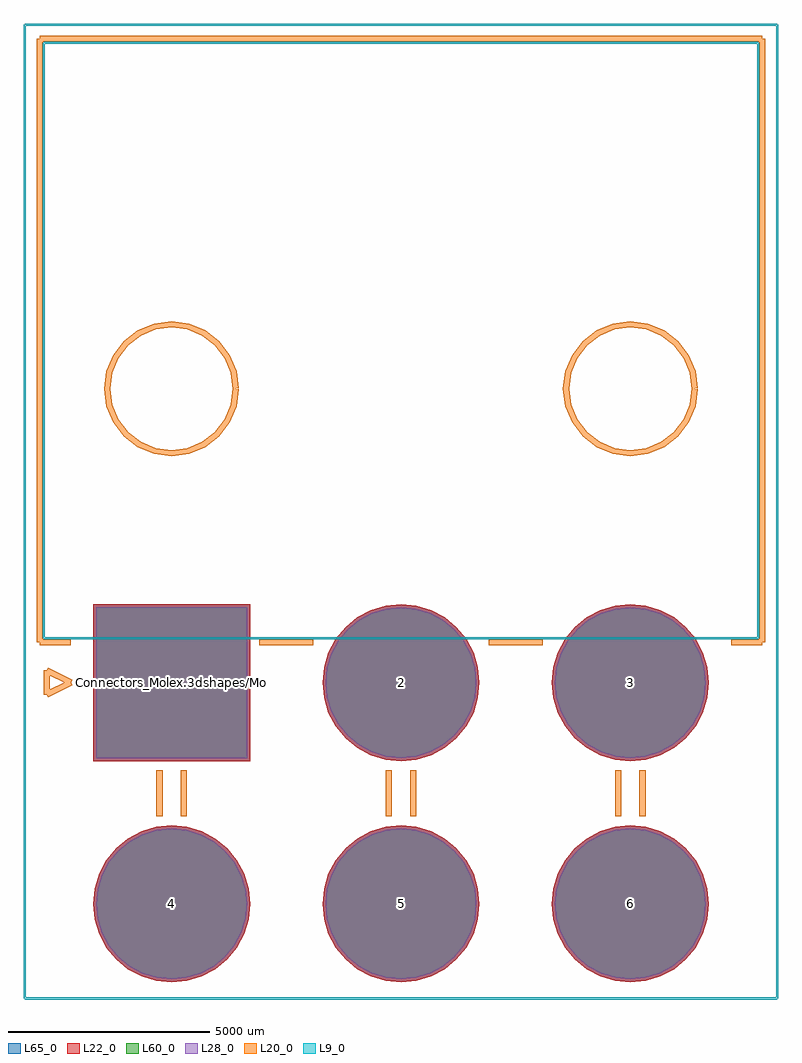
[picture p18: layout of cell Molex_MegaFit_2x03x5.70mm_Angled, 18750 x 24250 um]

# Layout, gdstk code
import gdstk
lib = gdstk.Library(unit=1e-6, precision=1e-09)
def R(c, l, rs):  # rectangles x0, y0, x1, y1
    for r in rs: c.add(gdstk.rectangle(r[:2], r[2:], *l))
def P(c, l, *ps):  # polygons
    for p in ps: c.add(gdstk.Polygon(p, *l))
L9_0 = (9, 0)
L20_0 = (20, 0)
L22_0 = (22, 0)
L28_0 = (28, 0)
L60_0 = (60, 0)
L65_0 = (65, 0)

molex_megafit_2x03x5_70m = lib.new_cell('Molex_MegaFit_2x03x5.70mm_Angled')
R(molex_megafit_2x03x5_70m, L22_0, [(-1950,-1950,1950,1950)])
P(molex_megafit_2x03x5_70m, L22_0, [(13350,-5500),(13312.531,-5119.574),(13201.565,-4753.767),(13021.366,-4416.638),(12778.858,-4121.142),(12483.362,-3878.634),(12146.233,-3698.435),(11780.426,-3587.469),(11400,-3550),(11019.574,-3587.469),(10653.767,-3698.435),(10316.638,-3878.634),(10021.142,-4121.142),(9778.634,-4416.638),(9598.435,-4753.767),(9487.469,-5119.574),(9450,-5500),(9487.469,-5880.426),(9598.435,-6246.233),(9778.634,-6583.362),(10021.142,-6878.858),(10316.638,-7121.366),(10653.767,-7301.565),(11019.574,-7412.531),(11400,-7450),(11780.426,-7412.531),(12146.233,-7301.565),(12483.362,-7121.366),(12778.858,-6878.858),(13021.366,-6583.362),(13201.565,-6246.233),(13312.531,-5880.426)],
  [(7650,-5500),(7612.531,-5119.574),(7501.565,-4753.767),(7321.366,-4416.638),(7078.858,-4121.142),(6783.362,-3878.634),(6446.233,-3698.435),(6080.426,-3587.469),(5700,-3550),(5319.574,-3587.469),(4953.767,-3698.435),(4616.638,-3878.634),(4321.142,-4121.142),(4078.634,-4416.638),(3898.435,-4753.767),(3787.469,-5119.574),(3750,-5500),(3787.469,-5880.426),(3898.435,-6246.233),(4078.634,-6583.362),(4321.142,-6878.858),(4616.638,-7121.366),(4953.767,-7301.565),(5319.574,-7412.531),(5700,-7450),(6080.426,-7412.531),(6446.233,-7301.565),(6783.362,-7121.366),(7078.858,-6878.858),(7321.366,-6583.362),(7501.565,-6246.233),(7612.531,-5880.426)],
  [(1950,-5500),(1912.531,-5119.574),(1801.565,-4753.767),(1621.366,-4416.638),(1378.858,-4121.142),(1083.362,-3878.634),(746.233,-3698.435),(380.426,-3587.469),(0,-3550),(-380.426,-3587.469),(-746.233,-3698.435),(-1083.362,-3878.634),(-1378.858,-4121.142),(-1621.366,-4416.638),(-1801.565,-4753.767),(-1912.531,-5119.574),(-1950,-5500),(-1912.531,-5880.426),(-1801.565,-6246.233),(-1621.366,-6583.362),(-1378.858,-6878.858),(-1083.362,-7121.366),(-746.233,-7301.565),(-380.426,-7412.531),(0,-7450),(380.426,-7412.531),(746.233,-7301.565),(1083.362,-7121.366),(1378.858,-6878.858),(1621.366,-6583.362),(1801.565,-6246.233),(1912.531,-5880.426)],
  [(13350,0),(13312.531,380.426),(13201.565,746.233),(13021.366,1083.362),(12778.858,1378.858),(12483.362,1621.366),(12146.233,1801.565),(11780.426,1912.531),(11400,1950),(11019.574,1912.531),(10653.767,1801.565),(10316.638,1621.366),(10021.142,1378.858),(9778.634,1083.362),(9598.435,746.233),(9487.469,380.426),(9450,0),(9487.469,-380.426),(9598.435,-746.233),(9778.634,-1083.362),(10021.142,-1378.858),(10316.638,-1621.366),(10653.767,-1801.565),(11019.574,-1912.531),(11400,-1950),(11780.426,-1912.531),(12146.233,-1801.565),(12483.362,-1621.366),(12778.858,-1378.858),(13021.366,-1083.362),(13201.565,-746.233),(13312.531,-380.426)],
  [(7650,0),(7612.531,380.426),(7501.565,746.233),(7321.366,1083.362),(7078.858,1378.858),(6783.362,1621.366),(6446.233,1801.565),(6080.426,1912.531),(5700,1950),(5319.574,1912.531),(4953.767,1801.565),(4616.638,1621.366),(4321.142,1378.858),(4078.634,1083.362),(3898.435,746.233),(3787.469,380.426),(3750,0),(3787.469,-380.426),(3898.435,-746.233),(4078.634,-1083.362),(4321.142,-1378.858),(4616.638,-1621.366),(4953.767,-1801.565),(5319.574,-1912.531),(5700,-1950),(6080.426,-1912.531),(6446.233,-1801.565),(6783.362,-1621.366),(7078.858,-1378.858),(7321.366,-1083.362),(7501.565,-746.233),(7612.531,-380.426)])
R(molex_megafit_2x03x5_70m, L28_0, [(-1875,-1875,1875,1875)])
P(molex_megafit_2x03x5_70m, L28_0, [(13275,-5500),(13238.972,-5134.206),(13132.274,-4782.469),(12959.006,-4458.306),(12725.825,-4174.175),(12441.694,-3940.994),(12117.531,-3767.726),(11765.794,-3661.028),(11400,-3625),(11034.206,-3661.028),(10682.469,-3767.726),(10358.306,-3940.994),(10074.175,-4174.175),(9840.994,-4458.306),(9667.726,-4782.469),(9561.028,-5134.206),(9525,-5500),(9561.028,-5865.794),(9667.726,-6217.531),(9840.994,-6541.694),(10074.175,-6825.825),(10358.306,-7059.006),(10682.469,-7232.274),(11034.206,-7338.972),(11400,-7375),(11765.794,-7338.972),(12117.531,-7232.274),(12441.694,-7059.006),(12725.825,-6825.825),(12959.006,-6541.694),(13132.274,-6217.531),(13238.972,-5865.794)],
  [(7575,-5500),(7538.972,-5134.206),(7432.274,-4782.469),(7259.006,-4458.306),(7025.825,-4174.175),(6741.694,-3940.994),(6417.531,-3767.726),(6065.794,-3661.028),(5700,-3625),(5334.206,-3661.028),(4982.469,-3767.726),(4658.306,-3940.994),(4374.175,-4174.175),(4140.994,-4458.306),(3967.726,-4782.469),(3861.028,-5134.206),(3825,-5500),(3861.028,-5865.794),(3967.726,-6217.531),(4140.994,-6541.694),(4374.175,-6825.825),(4658.306,-7059.006),(4982.469,-7232.274),(5334.206,-7338.972),(5700,-7375),(6065.794,-7338.972),(6417.531,-7232.274),(6741.694,-7059.006),(7025.825,-6825.825),(7259.006,-6541.694),(7432.274,-6217.531),(7538.972,-5865.794)],
  [(1875,-5500),(1838.972,-5134.206),(1732.274,-4782.469),(1559.006,-4458.306),(1325.825,-4174.175),(1041.694,-3940.994),(717.531,-3767.726),(365.794,-3661.028),(0,-3625),(-365.794,-3661.028),(-717.531,-3767.726),(-1041.694,-3940.994),(-1325.825,-4174.175),(-1559.006,-4458.306),(-1732.274,-4782.469),(-1838.972,-5134.206),(-1875,-5500),(-1838.972,-5865.794),(-1732.274,-6217.531),(-1559.006,-6541.694),(-1325.825,-6825.825),(-1041.694,-7059.006),(-717.531,-7232.274),(-365.794,-7338.972),(0,-7375),(365.794,-7338.972),(717.531,-7232.274),(1041.694,-7059.006),(1325.825,-6825.825),(1559.006,-6541.694),(1732.274,-6217.531),(1838.972,-5865.794)],
  [(13275,0),(13238.972,365.794),(13132.274,717.531),(12959.006,1041.694),(12725.825,1325.825),(12441.694,1559.006),(12117.531,1732.274),(11765.794,1838.972),(11400,1875),(11034.206,1838.972),(10682.469,1732.274),(10358.306,1559.006),(10074.175,1325.825),(9840.994,1041.694),(9667.726,717.531),(9561.028,365.794),(9525,0),(9561.028,-365.794),(9667.726,-717.531),(9840.994,-1041.694),(10074.175,-1325.825),(10358.306,-1559.006),(10682.469,-1732.274),(11034.206,-1838.972),(11400,-1875),(11765.794,-1838.972),(12117.531,-1732.274),(12441.694,-1559.006),(12725.825,-1325.825),(12959.006,-1041.694),(13132.274,-717.531),(13238.972,-365.794)],
  [(7575,0),(7538.972,365.794),(7432.274,717.531),(7259.006,1041.694),(7025.825,1325.825),(6741.694,1559.006),(6417.531,1732.274),(6065.794,1838.972),(5700,1875),(5334.206,1838.972),(4982.469,1732.274),(4658.306,1559.006),(4374.175,1325.825),(4140.994,1041.694),(3967.726,717.531),(3861.028,365.794),(3825,0),(3861.028,-365.794),(3967.726,-717.531),(4140.994,-1041.694),(4374.175,-1325.825),(4658.306,-1559.006),(4982.469,-1732.274),(5334.206,-1838.972),(5700,-1875),(6065.794,-1838.972),(6417.531,-1732.274),(6741.694,-1559.006),(7025.825,-1325.825),(7259.006,-1041.694),(7432.274,-717.531),(7538.972,-365.794)])
R(molex_megafit_2x03x5_70m, L60_0, [(-1875,-1875,1875,1875)])
P(molex_megafit_2x03x5_70m, L60_0, [(13275,-5500),(13238.972,-5134.206),(13132.274,-4782.469),(12959.006,-4458.306),(12725.825,-4174.175),(12441.694,-3940.994),(12117.531,-3767.726),(11765.794,-3661.028),(11400,-3625),(11034.206,-3661.028),(10682.469,-3767.726),(10358.306,-3940.994),(10074.175,-4174.175),(9840.994,-4458.306),(9667.726,-4782.469),(9561.028,-5134.206),(9525,-5500),(9561.028,-5865.794),(9667.726,-6217.531),(9840.994,-6541.694),(10074.175,-6825.825),(10358.306,-7059.006),(10682.469,-7232.274),(11034.206,-7338.972),(11400,-7375),(11765.794,-7338.972),(12117.531,-7232.274),(12441.694,-7059.006),(12725.825,-6825.825),(12959.006,-6541.694),(13132.274,-6217.531),(13238.972,-5865.794)],
  [(7575,-5500),(7538.972,-5134.206),(7432.274,-4782.469),(7259.006,-4458.306),(7025.825,-4174.175),(6741.694,-3940.994),(6417.531,-3767.726),(6065.794,-3661.028),(5700,-3625),(5334.206,-3661.028),(4982.469,-3767.726),(4658.306,-3940.994),(4374.175,-4174.175),(4140.994,-4458.306),(3967.726,-4782.469),(3861.028,-5134.206),(3825,-5500),(3861.028,-5865.794),(3967.726,-6217.531),(4140.994,-6541.694),(4374.175,-6825.825),(4658.306,-7059.006),(4982.469,-7232.274),(5334.206,-7338.972),(5700,-7375),(6065.794,-7338.972),(6417.531,-7232.274),(6741.694,-7059.006),(7025.825,-6825.825),(7259.006,-6541.694),(7432.274,-6217.531),(7538.972,-5865.794)],
  [(1875,-5500),(1838.972,-5134.206),(1732.274,-4782.469),(1559.006,-4458.306),(1325.825,-4174.175),(1041.694,-3940.994),(717.531,-3767.726),(365.794,-3661.028),(0,-3625),(-365.794,-3661.028),(-717.531,-3767.726),(-1041.694,-3940.994),(-1325.825,-4174.175),(-1559.006,-4458.306),(-1732.274,-4782.469),(-1838.972,-5134.206),(-1875,-5500),(-1838.972,-5865.794),(-1732.274,-6217.531),(-1559.006,-6541.694),(-1325.825,-6825.825),(-1041.694,-7059.006),(-717.531,-7232.274),(-365.794,-7338.972),(0,-7375),(365.794,-7338.972),(717.531,-7232.274),(1041.694,-7059.006),(1325.825,-6825.825),(1559.006,-6541.694),(1732.274,-6217.531),(1838.972,-5865.794)],
  [(13275,0),(13238.972,365.794),(13132.274,717.531),(12959.006,1041.694),(12725.825,1325.825),(12441.694,1559.006),(12117.531,1732.274),(11765.794,1838.972),(11400,1875),(11034.206,1838.972),(10682.469,1732.274),(10358.306,1559.006),(10074.175,1325.825),(9840.994,1041.694),(9667.726,717.531),(9561.028,365.794),(9525,0),(9561.028,-365.794),(9667.726,-717.531),(9840.994,-1041.694),(10074.175,-1325.825),(10358.306,-1559.006),(10682.469,-1732.274),(11034.206,-1838.972),(11400,-1875),(11765.794,-1838.972),(12117.531,-1732.274),(12441.694,-1559.006),(12725.825,-1325.825),(12959.006,-1041.694),(13132.274,-717.531),(13238.972,-365.794)],
  [(7575,0),(7538.972,365.794),(7432.274,717.531),(7259.006,1041.694),(7025.825,1325.825),(6741.694,1559.006),(6417.531,1732.274),(6065.794,1838.972),(5700,1875),(5334.206,1838.972),(4982.469,1732.274),(4658.306,1559.006),(4374.175,1325.825),(4140.994,1041.694),(3967.726,717.531),(3861.028,365.794),(3825,0),(3861.028,-365.794),(3967.726,-717.531),(4140.994,-1041.694),(4374.175,-1325.825),(4658.306,-1559.006),(4982.469,-1732.274),(5334.206,-1838.972),(5700,-1875),(6065.794,-1838.972),(6417.531,-1732.274),(6741.694,-1559.006),(7025.825,-1325.825),(7259.006,-1041.694),(7432.274,-717.531),(7538.972,-365.794)])
R(molex_megafit_2x03x5_70m, L65_0, [(-1950,-1950,1950,1950)])
P(molex_megafit_2x03x5_70m, L65_0, [(13350,-5500),(13312.531,-5119.574),(13201.565,-4753.767),(13021.366,-4416.638),(12778.858,-4121.142),(12483.362,-3878.634),(12146.233,-3698.435),(11780.426,-3587.469),(11400,-3550),(11019.574,-3587.469),(10653.767,-3698.435),(10316.638,-3878.634),(10021.142,-4121.142),(9778.634,-4416.638),(9598.435,-4753.767),(9487.469,-5119.574),(9450,-5500),(9487.469,-5880.426),(9598.435,-6246.233),(9778.634,-6583.362),(10021.142,-6878.858),(10316.638,-7121.366),(10653.767,-7301.565),(11019.574,-7412.531),(11400,-7450),(11780.426,-7412.531),(12146.233,-7301.565),(12483.362,-7121.366),(12778.858,-6878.858),(13021.366,-6583.362),(13201.565,-6246.233),(13312.531,-5880.426)],
  [(7650,-5500),(7612.531,-5119.574),(7501.565,-4753.767),(7321.366,-4416.638),(7078.858,-4121.142),(6783.362,-3878.634),(6446.233,-3698.435),(6080.426,-3587.469),(5700,-3550),(5319.574,-3587.469),(4953.767,-3698.435),(4616.638,-3878.634),(4321.142,-4121.142),(4078.634,-4416.638),(3898.435,-4753.767),(3787.469,-5119.574),(3750,-5500),(3787.469,-5880.426),(3898.435,-6246.233),(4078.634,-6583.362),(4321.142,-6878.858),(4616.638,-7121.366),(4953.767,-7301.565),(5319.574,-7412.531),(5700,-7450),(6080.426,-7412.531),(6446.233,-7301.565),(6783.362,-7121.366),(7078.858,-6878.858),(7321.366,-6583.362),(7501.565,-6246.233),(7612.531,-5880.426)],
  [(1950,-5500),(1912.531,-5119.574),(1801.565,-4753.767),(1621.366,-4416.638),(1378.858,-4121.142),(1083.362,-3878.634),(746.233,-3698.435),(380.426,-3587.469),(0,-3550),(-380.426,-3587.469),(-746.233,-3698.435),(-1083.362,-3878.634),(-1378.858,-4121.142),(-1621.366,-4416.638),(-1801.565,-4753.767),(-1912.531,-5119.574),(-1950,-5500),(-1912.531,-5880.426),(-1801.565,-6246.233),(-1621.366,-6583.362),(-1378.858,-6878.858),(-1083.362,-7121.366),(-746.233,-7301.565),(-380.426,-7412.531),(0,-7450),(380.426,-7412.531),(746.233,-7301.565),(1083.362,-7121.366),(1378.858,-6878.858),(1621.366,-6583.362),(1801.565,-6246.233),(1912.531,-5880.426)],
  [(13350,0),(13312.531,380.426),(13201.565,746.233),(13021.366,1083.362),(12778.858,1378.858),(12483.362,1621.366),(12146.233,1801.565),(11780.426,1912.531),(11400,1950),(11019.574,1912.531),(10653.767,1801.565),(10316.638,1621.366),(10021.142,1378.858),(9778.634,1083.362),(9598.435,746.233),(9487.469,380.426),(9450,0),(9487.469,-380.426),(9598.435,-746.233),(9778.634,-1083.362),(10021.142,-1378.858),(10316.638,-1621.366),(10653.767,-1801.565),(11019.574,-1912.531),(11400,-1950),(11780.426,-1912.531),(12146.233,-1801.565),(12483.362,-1621.366),(12778.858,-1378.858),(13021.366,-1083.362),(13201.565,-746.233),(13312.531,-380.426)],
  [(7650,0),(7612.531,380.426),(7501.565,746.233),(7321.366,1083.362),(7078.858,1378.858),(6783.362,1621.366),(6446.233,1801.565),(6080.426,1912.531),(5700,1950),(5319.574,1912.531),(4953.767,1801.565),(4616.638,1621.366),(4321.142,1378.858),(4078.634,1083.362),(3898.435,746.233),(3787.469,380.426),(3750,0),(3787.469,-380.426),(3898.435,-746.233),(4078.634,-1083.362),(4321.142,-1378.858),(4616.638,-1621.366),(4953.767,-1801.565),(5319.574,-1912.531),(5700,-1950),(6080.426,-1912.531),(6446.233,-1801.565),(6783.362,-1621.366),(7078.858,-1378.858),(7321.366,-1083.362),(7501.565,-746.233),(7612.531,-380.426)])
molex_megafit_2x03x5_70m.add(gdstk.FlexPath([(15050,16350),(-3650,16350)], 50, ends="flush", simple_path=True, layer=9, datatype=0))  # L9_0
molex_megafit_2x03x5_70m.add(gdstk.FlexPath([(15050,-7850),(15050,16350)], 50, ends="flush", simple_path=True, layer=9, datatype=0))  # L9_0
molex_megafit_2x03x5_70m.add(gdstk.FlexPath([(-3650,-7850),(15050,-7850)], 50, ends="flush", simple_path=True, layer=9, datatype=0))  # L9_0
molex_megafit_2x03x5_70m.add(gdstk.FlexPath([(-3650,16350),(-3650,-7850)], 50, ends="flush", simple_path=True, layer=9, datatype=0))  # L9_0
molex_megafit_2x03x5_70m.add(gdstk.FlexPath([(-3100,300),(-2500,0)], 149.998, ends="flush", simple_path=True, layer=20, datatype=0))  # L20_0
molex_megafit_2x03x5_70m.add(gdstk.FlexPath([(-3100,-300),(-3100,300)], 149.998, ends="flush", simple_path=True, layer=20, datatype=0))  # L20_0
molex_megafit_2x03x5_70m.add(gdstk.FlexPath([(-2500,0),(-3100,-300)], 149.998, ends="flush", simple_path=True, layer=20, datatype=0))  # L20_0
molex_megafit_2x03x5_70m.add(gdstk.FlexPath([(11700,-2175),(11700,-3325)], 149.998, ends="flush", simple_path=True, layer=20, datatype=0))  # L20_0
molex_megafit_2x03x5_70m.add(gdstk.FlexPath([(11100,-2175),(11100,-3325)], 149.998, ends="flush", simple_path=True, layer=20, datatype=0))  # L20_0
molex_megafit_2x03x5_70m.add(gdstk.FlexPath([(6000,-2175),(6000,-3325)], 149.998, ends="flush", simple_path=True, layer=20, datatype=0))  # L20_0
molex_megafit_2x03x5_70m.add(gdstk.FlexPath([(5400,-2175),(5400,-3325)], 149.998, ends="flush", simple_path=True, layer=20, datatype=0))  # L20_0
molex_megafit_2x03x5_70m.add(gdstk.FlexPath([(300,-2175),(300,-3325)], 149.998, ends="flush", simple_path=True, layer=20, datatype=0))  # L20_0
molex_megafit_2x03x5_70m.add(gdstk.FlexPath([(-300,-2175),(-300,-3325)], 149.998, ends="flush", simple_path=True, layer=20, datatype=0))  # L20_0
molex_megafit_2x03x5_70m.add(gdstk.FlexPath([(7875,1000),(9225,1000)], 149.998, ends="flush", simple_path=True, layer=20, datatype=0))  # L20_0
molex_megafit_2x03x5_70m.add(gdstk.FlexPath([(2175,1000),(3525,1000)], 149.998, ends="flush", simple_path=True, layer=20, datatype=0))  # L20_0
molex_megafit_2x03x5_70m.add(gdstk.FlexPath([(14675,1000),(13900,1000)], 149.998, ends="flush", simple_path=True, layer=20, datatype=0))  # L20_0
molex_megafit_2x03x5_70m.add(gdstk.FlexPath([(14675,16000),(14675,1000)], 149.998, ends="flush", simple_path=True, layer=20, datatype=0))  # L20_0
molex_megafit_2x03x5_70m.add(gdstk.FlexPath([(5700,16000),(14675,16000)], 149.998, ends="flush", simple_path=True, layer=20, datatype=0))  # L20_0
molex_megafit_2x03x5_70m.add(gdstk.FlexPath([(-3275,1000),(-2500,1000)], 149.998, ends="flush", simple_path=True, layer=20, datatype=0))  # L20_0
molex_megafit_2x03x5_70m.add(gdstk.FlexPath([(-3275,16000),(-3275,1000)], 149.998, ends="flush", simple_path=True, layer=20, datatype=0))  # L20_0
molex_megafit_2x03x5_70m.add(gdstk.FlexPath([(5700,16000),(-3275,16000)], 149.998, ends="flush", simple_path=True, layer=20, datatype=0))  # L20_0
molex_megafit_2x03x5_70m.add(gdstk.FlexPath([(14575,15900),(-3175,15900)], 50, ends="flush", simple_path=True, layer=9, datatype=0))  # L9_0
molex_megafit_2x03x5_70m.add(gdstk.FlexPath([(14575,1100),(14575,15900)], 50, ends="flush", simple_path=True, layer=9, datatype=0))  # L9_0
molex_megafit_2x03x5_70m.add(gdstk.FlexPath([(-3175,1100),(14575,1100)], 50, ends="flush", simple_path=True, layer=9, datatype=0))  # L9_0
molex_megafit_2x03x5_70m.add(gdstk.FlexPath([(-3175,15900),(-3175,1100)], 50, ends="flush", simple_path=True, layer=9, datatype=0))  # L9_0
molex_megafit_2x03x5_70m.add(gdstk.FlexPath([(13000,7300),(12945.481,7714.11),(12785.641,8100),(12531.371,8431.371),(12200,8685.641),(11814.11,8845.481),(11400,8900),(10985.89,8845.481),(10600,8685.641),(10268.629,8431.371),(10014.359,8100),(9854.519,7714.11),(9800,7300),(9854.519,6885.89),(10014.359,6500),(10268.629,6168.629),(10600,5914.359),(10985.89,5754.519),(11400,5700),(11814.11,5754.519),(12200,5914.359),(12531.371,6168.629),(12785.641,6500),(12945.481,6885.89),(13000,7300)], 149.998, ends="flush", simple_path=True, layer=20, datatype=0))  # L20_0
molex_megafit_2x03x5_70m.add(gdstk.FlexPath([(1600,7300),(1545.481,7714.11),(1385.641,8100),(1131.371,8431.371),(800,8685.641),(414.11,8845.481),(0,8900),(-414.11,8845.481),(-800,8685.641),(-1131.371,8431.371),(-1385.641,8100),(-1545.481,7714.11),(-1600,7300),(-1545.481,6885.89),(-1385.641,6500),(-1131.371,6168.629),(-800,5914.359),(-414.11,5754.519),(0,5700),(414.11,5754.519),(800,5914.359),(1131.371,6168.629),(1385.641,6500),(1545.481,6885.89),(1600,7300)], 149.998, ends="flush", simple_path=True, layer=20, datatype=0))  # L20_0
molex_megafit_2x03x5_70m.add(gdstk.Label('Connectors_Molex.3dshapes/Molex_MegaFit_2x03x5.70mm_Angled.wrl', (0,0), layer=12, texttype=0))
molex_megafit_2x03x5_70m.add(gdstk.Label('6', (11400,-5500), layer=28, texttype=0))
molex_megafit_2x03x5_70m.add(gdstk.Label('5', (5700,-5500), layer=28, texttype=0))
molex_megafit_2x03x5_70m.add(gdstk.Label('4', (0,-5500), layer=28, texttype=0))
molex_megafit_2x03x5_70m.add(gdstk.Label('3', (11400,0), layer=28, texttype=0))
molex_megafit_2x03x5_70m.add(gdstk.Label('2', (5700,0), layer=28, texttype=0))
molex_megafit_2x03x5_70m.add(gdstk.Label('1', (0,0), layer=28, texttype=0))
molex_megafit_2x03x5_70m.add(gdstk.Label('type', (5700,-10500), layer=9, texttype=0))
molex_megafit_2x03x5_70m.add(gdstk.Label('devicename', (5700,-9000), layer=9, texttype=0))

lib.write_gds('Molex_MegaFit_2x03x5.70mm_Angled.gds')
